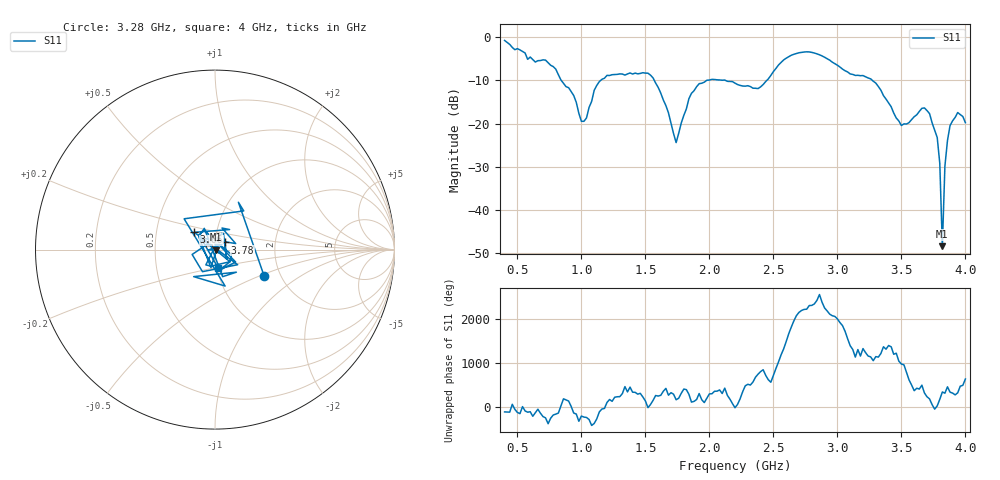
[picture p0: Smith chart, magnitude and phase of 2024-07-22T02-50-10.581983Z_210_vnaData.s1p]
!Created with skrf (http://scikit-rf.org).
# Hz S RI R 50.0
!freq ReS11 ImS11
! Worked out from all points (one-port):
!   181 points, 400 MHz to 4 GHz, reference 50 ohm
!   lowest |S11| = -48.4 dB at 3.82 GHz (marker M1), VSWR 1.01, Z = 50.4 - j0.0839 ohm
!   |S11| at or under -10 dB: 1.569 GHz to 1.979 GHz (409.3 MHz wide, 23.1 % of centre); 2.125 GHz to 2.449 GHz (323.9 MHz wide, 14.2 % of centre); 3.273 GHz to end of sweep (the widest 3 of 4)
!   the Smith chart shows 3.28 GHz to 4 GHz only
!   S11 on the Smith chart (normalised r, x): 3.28 GHz: 1.65, -0.53; 3.66 GHz: 0.78, +0.15; 3.78 GHz: 1.12, +0.09; 4 GHz: 1.01, -0.21
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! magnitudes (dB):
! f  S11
! 400 MHz  -0.8
! 720 MHz  -5.3
! 860 MHz  -10.7
! 1.02 GHz  -19.5
! 1.14 GHz  -10.3
! 1.3 GHz  -8.5
! 1.54 GHz  -8.8
! 1.66 GHz  -15.8
! 1.74 GHz  -24.4
! 1.76 GHz  -22.3
! 1.84 GHz  -14.2
! 1.92 GHz  -10.8
! 2.2 GHz  -10.6
! 2.38 GHz  -11.9
! 2.66 GHz  -4.0
! 3.1 GHz  -8.5
! 3.28 GHz  -10.2
! 3.5 GHz  -20.5
! 3.56 GHz  -19.8
! 3.66 GHz  -16.5
! 3.72 GHz  -17.7
! 3.78 GHz  -23.2
! 3.8 GHz  -29.2
! 3.82 GHz  -48.4
! 3.84 GHz  -29.8
! 3.88 GHz  -20.5
! 3.94 GHz  -17.4
! 4 GHz  -19.8
